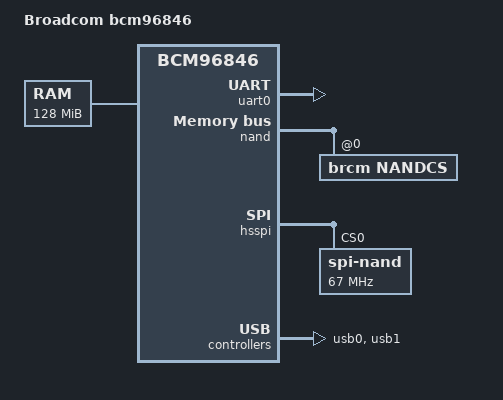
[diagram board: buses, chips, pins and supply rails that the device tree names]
// SPDX-License-Identifier: GPL-2.0+
/*
 * Copyright 2019 Broadcom Ltd.
 */


/dts-v1/;

#include "bcm6846.dtsi"

/ {
	model = "Broadcom bcm96846";
	compatible = "broadcom,bcm96846", "brcm,bcm96846";

	aliases {
		serial0 = &uart0;
	};

	chosen {
		stdout-path = "serial0:115200n8";
	};

    memory {
        device_type = "memory";
        reg = <0x0 0x08000000>;
    };
};

&uart0 {
    u-boot,dm-pre-reloc;
    status = "okay";
};

&nand {
    status = "okay";
    write-protect = <0>;
    #address-cells = <1>;
    #size-cells = <0>;

    nandcs@0 {
        compatible = "brcm,nandcs";
        reg = <0>;
    };
};

&hsspi {
	status = "okay";
	spi-nand {
		compatible = "spi-nand";
		reg = <0>;
		#address-cells = <1>;
		#size-cells = <0>;
		u-boot,dm-pre-reloc;				
		spi-max-frequency = <67000000>;
	};
};

&usb0 {
	status = "okay";
	pinctrl-0 = <&usb0a_pwrflt_pins &usb0a_pwron_pins>;
	pinctrl-names="default";
};

&usb1 {
	status = "okay";
	pinctrl-0 = <&usb1a_pwrflt_pins &usb1a_pwron_pins>;
	pinctrl-names="default";
};
